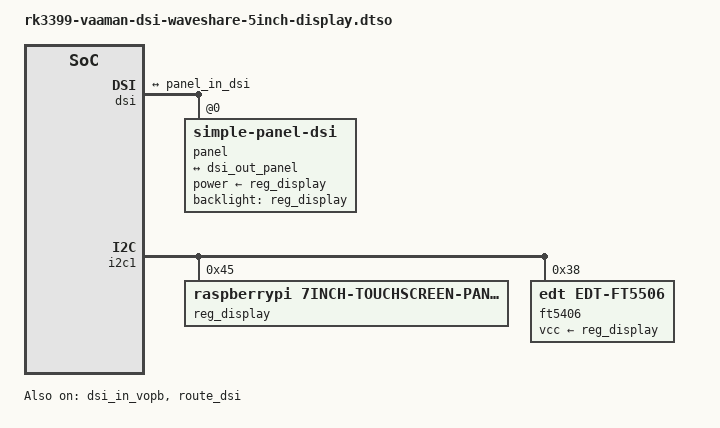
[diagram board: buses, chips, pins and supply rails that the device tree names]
// SPDX-License-Identifier: GPL-2.0+
// Copyright (C) 2023 Vicharak Computers LLP

/dts-v1/;
/plugin/;

#include <dt-bindings/gpio/gpio.h>
#include <dt-bindings/pinctrl/rockchip.h>
#include <dt-bindings/display/drm_mipi_dsi.h>

&{/} {
	metadata {
		title = "Enable Waveshare 5inch DSI LCD";
		compatible = "vicharak,rk3399-vaaman", "rockchip,rk3399";
		category = "display";
		exclusive = "dsi", "hdmi", "cdn_dp";
		description = "Enables support for the Waveshare 5-inch DSI LCD screen.\nPlease note that HDMI/DP output will be disabled as a result.";
	};
};

&dsi {
	status = "okay";
	rockchip,lane-rate = <670>;
	#address-cells = <1>;
	#size-cells = <0>;

    panel: panel-dsi-generic@0 {
        compatible = "simple-panel-dsi";
        reg = <0>;
        power-supply = <&reg_display>;
        backlight = <&reg_display>;
        status = "okay";
		init-delay-ms = <30>;

        width-mm = <0>;
        height-mm = <0>;

        dsi,format = <MIPI_DSI_FMT_RGB888>;
        dsi,lanes = <1>;
        dsi,flags = <(MIPI_DSI_MODE_VIDEO | MIPI_DSI_MODE_VIDEO_SYNC_PULSE |
              MIPI_DSI_MODE_LPM | MIPI_DSI_MODE_VIDEO_HSE)>;

        display-timings {
            native-mode = <&timing0>;
            timing0: timing0 {
                clock-frequency = <27778000>;
                hactive = <800>;
                vactive = <480>;

                hback-porch = <45>;
                hfront-porch = <59>;

                vback-porch = <22>;
                vfront-porch = <7>;

                hsync-len = <2>;
                vsync-len = <2>;
            };
        };

        ports {
            #address-cells = <1>;
            #size-cells = <0>;

            port@0 {
                reg = <0>;
                panel_in_dsi: endpoint {
                    remote-endpoint = <&dsi_out_panel>;
                };
            };
        };
    };

	ports {
		#address-cells = <1>;
		#size-cells = <0>;

		port@1 {
			reg = <1>;

			dsi_out_panel: endpoint {
				remote-endpoint = <&panel_in_dsi>;
			};
		};
	};
};

&i2c1 {
	status = "okay";
	#address-cells = <1>;
	#size-cells = <0>;

	reg_display: reg_display@45 {
		compatible = "raspberrypi,7inch-touchscreen-panel-regulator";
		reg = <0x45>;
		status = "okay";
	};

	ft5406: ts@38 {
		compatible = "edt,edt-ft5506";
		reg = <0x38>;
		vcc-supply = <&reg_display>;
		touchscreen-size-x = <800>;
		touchscreen-size-y = <480>;
		touchscreen-inverted-x;
		touchscreen-inverted-y;
		status = "okay";
	};
};

&dsi_in_vopl {
	status = "disabled";
};

&dsi_in_vopb {
	status = "okay";
};

&dp_in_vopb {
	status = "disabled";
};

&edp_in_vopb {
	status = "disabled";
};

&hdmi_in_vopb {
	status = "disabled";
};

&route_dsi {
	status = "okay";
	connect = <&dsi_in_vopb>;
};

&route_hdmi {
	status = "disabled";
};

&hdmi {
	status = "disabled";
};

&hdmi_sound {
	status = "disabled";
};

&cdn_dp {
	status = "disabled";
};
